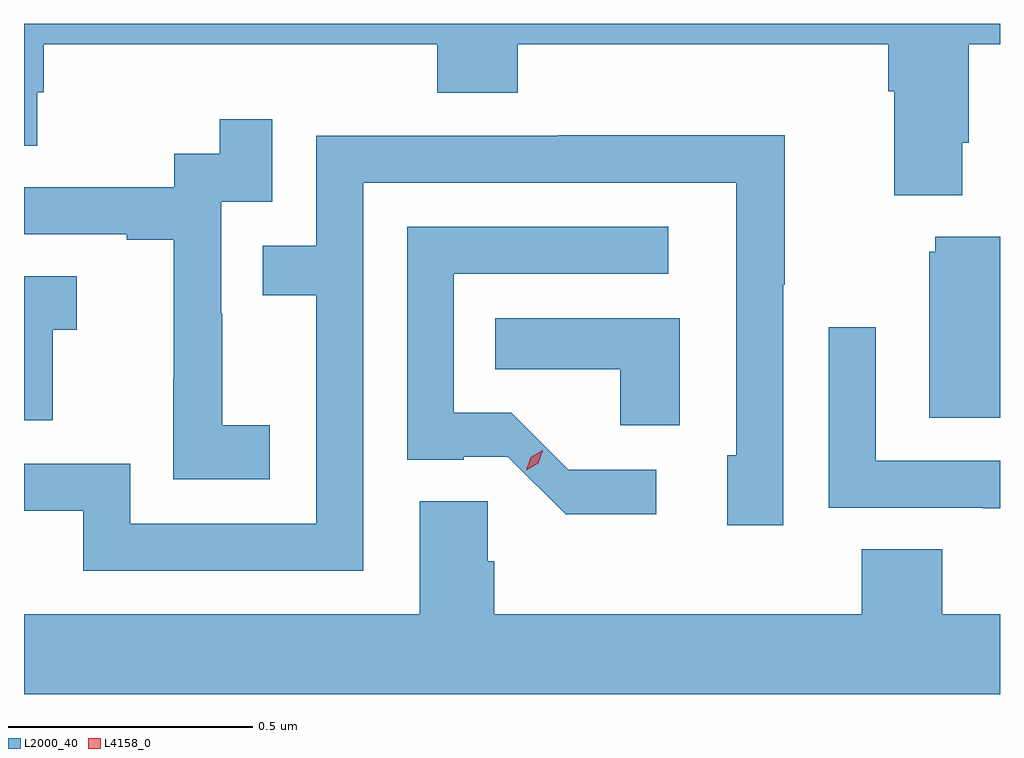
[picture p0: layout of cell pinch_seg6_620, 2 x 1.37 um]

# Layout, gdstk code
import gdstk
lib = gdstk.Library(unit=1e-6, precision=1e-09)
def P(c, l, *ps):  # polygons
    for p in ps: c.add(gdstk.Polygon(p, *l))
L2000_40 = (2000, 40)
L4158_0 = (4158, 0)

pinch_seg6_620 = lib.new_cell('pinch_seg6_620')
P(pinch_seg6_620, L2000_40, [(501.136,988.42),(501.163,988.42),(501.163,988.53),(501.176,988.53),(501.176,988.628),(501.983,988.628),(501.983,988.529),(502.148,988.529),(502.148,988.628),(502.907,988.628),(502.907,988.532),(502.919,988.532),(502.919,988.319),(503.059,988.319),(503.059,988.426),(503.072,988.426),(503.072,988.628),(503.136,988.628),(503.136,988.67),(501.136,988.67)],
  [(501.64,987.847),(501.542,987.847),(501.542,988.076),(501.54,988.076),(501.54,988.305),(501.645,988.305),(501.645,988.474),(501.537,988.474),(501.537,988.404),(501.444,988.404),(501.444,988.335),(501.136,988.335),(501.136,988.239),(501.347,988.239),(501.347,988.227),(501.443,988.227),(501.443,987.943),(501.442,987.943),(501.442,987.737),(501.64,987.737)],
  [(501.831,988.344),(502.596,988.344),(502.596,987.786),(502.577,987.786),(502.577,987.642),(502.692,987.642),(502.692,988.135),(502.695,988.135),(502.695,988.442),(502.231,988.442),(502.231,988.44),(501.735,988.44),(501.735,988.215),(501.625,988.215),(501.625,988.114),(501.735,988.114),(501.735,987.645),(501.354,987.645),(501.354,987.768),(501.136,987.768),(501.136,987.672),(501.257,987.672),(501.257,987.549),(501.831,987.549)],
  [(502.432,987.756),(502.251,987.756),(502.134,987.873),(502.017,987.873),(502.017,988.158),(502.456,988.158),(502.456,988.254),(501.921,988.254),(501.921,987.777),(502.037,987.777),(502.037,987.783),(502.127,987.783),(502.246,987.665),(502.432,987.665)],
  [(503.136,988.234),(503.003,988.234),(503.003,988.203),(502.991,988.203),(502.991,987.863),(503.136,987.863)],
  [(501.195,988.043),(501.244,988.043),(501.244,988.153),(501.136,988.153),(501.136,987.858),(501.195,987.858)],
  [(502.48,988.066),(502.102,988.066),(502.102,987.962),(502.358,987.962),(502.358,987.847),(502.48,987.847)],
  [(503.136,987.774),(502.881,987.774),(502.881,988.048),(502.785,988.048),(502.785,987.678),(503.101,987.678),(503.101,987.677),(503.136,987.677)],
  [(503.136,987.46),(503.018,987.46),(503.018,987.593),(502.853,987.593),(502.853,987.46),(502.1,987.46),(502.1,987.569),(502.086,987.569),(502.086,987.692),(501.947,987.692),(501.947,987.46),(501.136,987.46),(501.136,987.296),(503.136,987.296)])
P(pinch_seg6_620, L4158_0, [(502.165,987.755),(502.165,987.755),(502.174,987.782),(502.199,987.796),(502.199,987.796),(502.199,987.795),(502.19,987.769),(502.165,987.755)])

lib.write_gds('pinch_seg6_620.gds')
